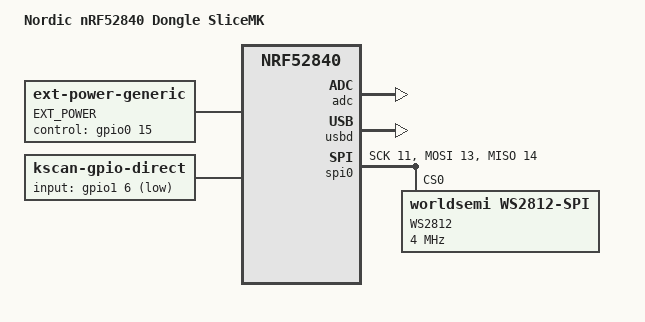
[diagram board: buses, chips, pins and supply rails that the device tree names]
/dts-v1/;
#include <nordic/nrf52840_qiaa.dtsi>

#include <dt-bindings/led/led.h>

/ {
	model = "Nordic nRF52840 Dongle SliceMK";

	chosen {
		zephyr,code-partition = &code_partition;
		zephyr,sram = &sram0;
		zephyr,flash = &flash0;
		zephyr,console = &cdc_acm_uart;
		zmk,underglow = &led_strip;
	};

	// Define pin for controlling external power.
	ext-power {
		compatible = "zmk,ext-power-generic";
		label = "EXT_POWER";
		control-gpios = <&gpio0 15 GPIO_ACTIVE_HIGH>;
		init-delay-ms = <50>;
	};

	kscan0: kscan {
		compatible = "zmk,kscan-gpio-direct";
		label = "KSCAN";
		input-gpios = <&gpio1 6 (GPIO_ACTIVE_LOW | GPIO_PULL_UP)>;
	};
};

&adc {
	status = "okay";
};

&gpiote {
	status = "okay";
};

&gpio0 {
	status = "okay";
};

&gpio1 {
	status = "okay";
};

&usbd {
	status = "okay";
	cdc_acm_uart: cdc_acm_uart {
		compatible = "zephyr,cdc-acm-uart";
		label = "CDC_ACM_0";
	};
};

&flash0 {
	partitions {
		compatible = "fixed-partitions";
		#address-cells = <1>;
		#size-cells = <1>;

		// Application starts at 0x1000 after the MBR.
		code_partition: partition@1000 {
			label = "code_partition";
			reg = <0x00001000 0x000e9000>;
		};

		// Define storage partition before the bootloader, which starts at
		// 0xf4000. The storage partition has been 10 pages since Adafruit
		// bootloader version 0.6.0.
		storage_partition: partition@ea000 {
			label = "storage";
			reg = <0x000ea000 0x0000a000>;
		};
	};
};

&spi0 {
	compatible = "nordic,nrf-spim";
	status = "okay";

	// Define pin for LED data.
	mosi-pin = <13>;

	// Zephyr requires SCK and MISO to be defined but they are not used so pick
	// two random unused pins.
	sck-pin = <11>;
	miso-pin = <14>;

	led_strip: ws2812@0 {
		compatible = "worldsemi,ws2812-spi";
		label = "WS2812";

		reg = <0>;
		spi-max-frequency = <4000000>;

		chain-length = <1>;
		color-mapping = <LED_COLOR_ID_GREEN LED_COLOR_ID_RED LED_COLOR_ID_BLUE>;
		spi-one-frame = <0x70>;
		spi-zero-frame = <0x40>;
	};
};
